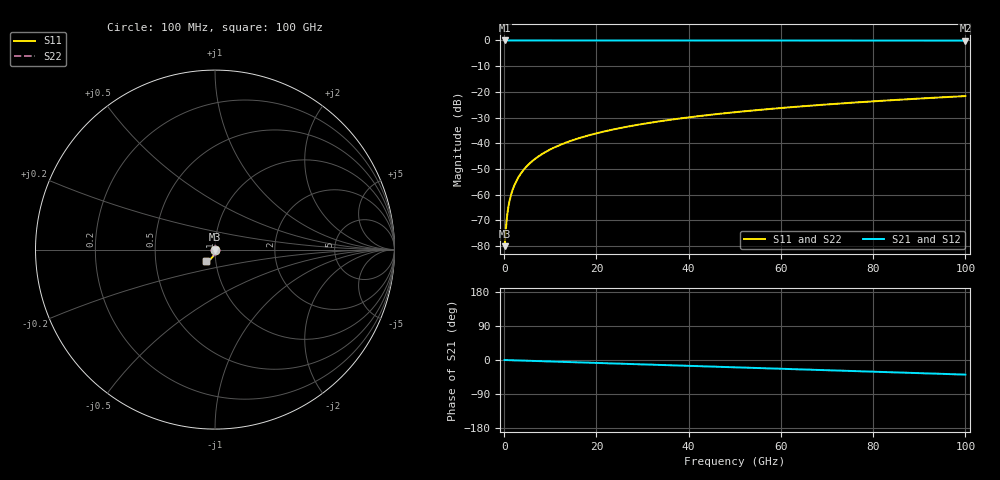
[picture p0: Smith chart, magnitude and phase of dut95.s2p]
! Touchstone file exported from HFSS 2026.1.0
!  File:  C:/ffzhzh/LocalFiles/Ansys_Project_Files/temp_train_TSV_95_1783505682_44152.aedt
!  Generated:  06:15:44 PM Jul  8, 2026
!  Design:  TSV
!  Project:  temp_train_TSV_95_1783505682_44152
! Variables:
!  h_bsmrdl = 2um
!  h_ox = 20um
!  h_rdl = 5um
!  h_sub = 77.01um
!  h_tmrdl = 5um
!  h_tsv = 77.01um
!  h_via = 3um
!  l_bsmrdl = 300um
!  l_sub = 424.5um
!  l_tmrdl = 200um
!  m_sub = 200um
!  pitch = 43.88um
!  r_tsv = 12.25um
!  s_tmrdl = 10um
!  w_bsmrdl = 18um
!  w_sub = 500um
!  w_tmrdl = 12um
!  x_tsv_center1 = 206um
!  x_tsv_center2 = 524um
!  x_tsv_center3 = 736um
!  x_tsv_center4 = 1054um
!  x_tsv_center5 = 1266um
!  x_tsv_center6 = 1584um
# GHz S MA R 50.000000
! Terminal data exported
! Port[1] = TSV1_1_T1
! Port[2] = TSV1_1_T2
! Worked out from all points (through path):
!   1000 points, 100 MHz to 100 GHz, reference 50 ohm
!   highest |S21| = 0.00 dB at 100 MHz (marker M1); lowest = -0.1 dB at 100 GHz (marker M2)
!   group delay of S21, straight-line fit = 1.07 ps
!   lowest |S11| = -80.0 dB at 100 MHz (marker M3), VSWR 1.00, Z = 50 - j0.00366 ohm
!   |S11| at or under -10 dB: start of sweep to end of sweep
!   |S22| runs from -80.0 to -21.6 dB; largest |S21 - S12| = 2.8e-15
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0.1  0.0001002 -21.4  0.9999 -0.0  0.9999 -0.0  0.0001002 -21.4
! Gamma 0 0 0 0
! Port Impedance 50 0 50 0
0.4  0.0002343 -50.7  0.9999 -0.2  0.9999 -0.2  0.0002343 -50.7
0.7  0.0004288 -61.4  0.9998 -0.3  0.9998 -0.3  0.0004288 -61.4
0.9  0.0005682 -65.7  0.9998 -0.4  0.9998 -0.4  0.0005682 -65.7
1.2  0.0007816 -70.1  0.9997 -0.5  0.9997 -0.5  0.0007816 -70.1
1.5  0.0009978 -73.0  0.9997 -0.6  0.9997 -0.6  0.0009978 -73.0
2  0.001363 -76.1  0.9997 -0.8  0.9997 -0.8  0.001363 -76.1
2.5  0.001735 -78.1  0.9996 -1.0  0.9996 -1.0  0.001735 -78.1
3.2  0.002265 -80.0  0.9996 -1.2  0.9996 -1.2  0.002265 -80.0
4  0.00288 -81.7  0.9995 -1.6  0.9995 -1.6  0.00288 -81.7
5  0.003657 -83.2  0.9994 -1.9  0.9994 -1.9  0.003657 -83.2
6.1  0.004518 -84.6  0.9994 -2.4  0.9994 -2.4  0.004518 -84.6
8.9  0.006728 -87.2  0.9992 -3.4  0.9992 -3.4  0.006728 -87.1
12.4  0.009523 -89.5  0.9991 -4.8  0.9991 -4.8  0.009523 -89.5
16.8  0.01306 -92.0  0.9989 -6.5  0.9989 -6.5  0.01306 -92.0
24.1  0.01897 -95.6  0.9986 -9.3  0.9986 -9.3  0.01897 -95.6
33.4  0.02656 -99.7  0.9982 -12.9  0.9982 -12.9  0.02656 -99.7
41.2  0.03298 -103.1  0.9978 -15.8  0.9978 -15.8  0.03298 -103.1
50.1  0.04034 -106.8  0.9974 -19.3  0.9974 -19.3  0.04034 -106.8
66.7  0.05424 -113.6  0.9964 -25.7  0.9964 -25.7  0.05424 -113.6
83.4  0.06848 -120.3  0.9952 -32.1  0.9952 -32.1  0.06848 -120.3
100  0.08296 -127.1  0.9937 -38.5  0.9937 -38.5  0.08296 -127.0
